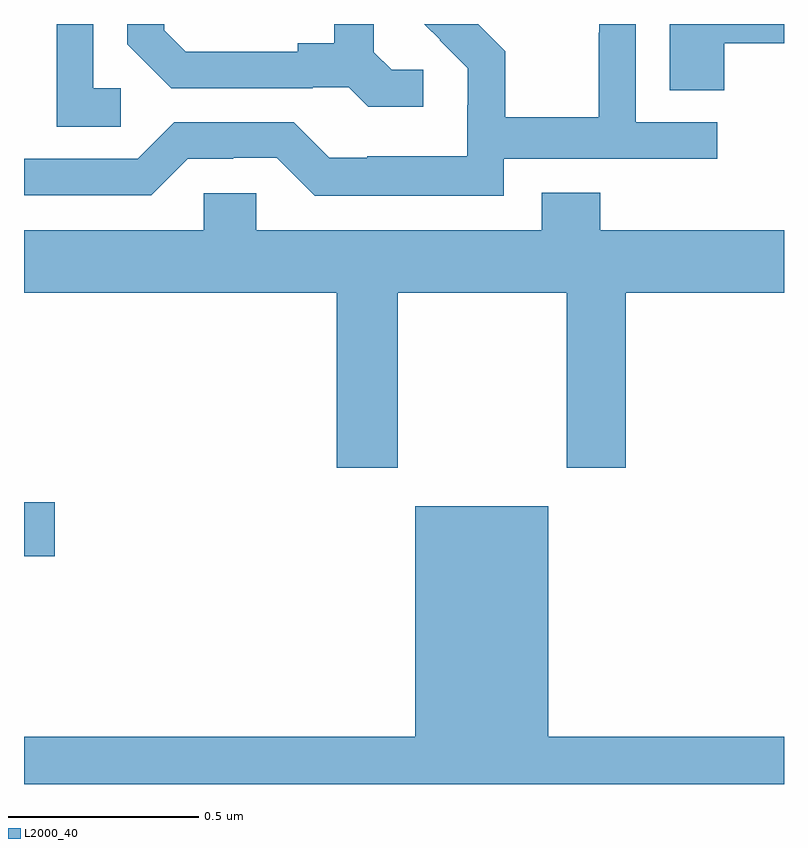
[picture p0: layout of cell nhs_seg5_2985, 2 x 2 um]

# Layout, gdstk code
import gdstk
lib = gdstk.Library(unit=1e-6, precision=1e-09)
def R(c, l, rs):  # rectangles x0, y0, x1, y1
    for r in rs: c.add(gdstk.rectangle(r[:2], r[2:], *l))
def P(c, l, *ps):  # polygons
    for p in ps: c.add(gdstk.Polygon(p, *l))
L2000_40 = (2000, 40)

nhs_seg5_2985 = lib.new_cell('nhs_seg5_2985')
R(nhs_seg5_2985, L2000_40, [(151,857.398,151.081,857.54)])
P(nhs_seg5_2985, L2000_40, [(152.843,858.749),(153,858.749),(153,858.799),(152.699,858.799),(152.699,858.625),(152.843,858.625)],
  [(152.262,858.444),(152.824,858.444),(152.824,858.54),(152.61,858.54),(152.61,858.799),(152.514,858.799),(152.514,858.776),(152.512,858.776),(152.512,858.553),(152.267,858.553),(152.267,858.727),(152.195,858.799),(152.053,858.799),(152.095,858.757),(152.094,858.756),(152.168,858.682),(152.168,858.585),(152.166,858.585),(152.166,858.451),(151.903,858.451),(151.903,858.447),(151.803,858.447),(151.71,858.54),(151.395,858.54),(151.299,858.444),(151,858.444),(151,858.348),(151.335,858.348),(151.431,858.444),(151.55,858.444),(151.55,858.447),(151.665,858.447),(151.765,858.347),(152.262,858.347)],
  [(151.255,858.63),(151.182,858.63),(151.182,858.799),(151.086,858.799),(151.086,858.529),(151.255,858.529)],
  [(152.05,858.678),(151.968,858.678),(151.921,858.725),(151.921,858.799),(151.817,858.799),(151.817,858.749),(151.721,858.749),(151.721,858.726),(151.426,858.726),(151.369,858.783),(151.369,858.799),(151.272,858.799),(151.272,858.746),(151.388,858.63),(151.76,858.63),(151.76,858.633),(151.854,858.633),(151.906,858.581),(152.05,858.581)],
  [(151.983,858.092),(152.428,858.092),(152.428,857.631),(152.583,857.631),(152.583,858.092),(153,858.092),(153,858.256),(152.516,858.256),(152.516,858.355),(152.363,858.355),(152.363,858.256),(151.611,858.256),(151.611,858.354),(151.473,858.354),(151.473,858.256),(151,858.256),(151,858.092),(151.823,858.092),(151.823,857.631),(151.983,857.631)],
  [(153,856.924),(152.38,856.924),(152.38,857.53),(152.03,857.53),(152.03,856.924),(151,856.924),(151,856.799),(153,856.799)])

lib.write_gds('nhs_seg5_2985.gds')
